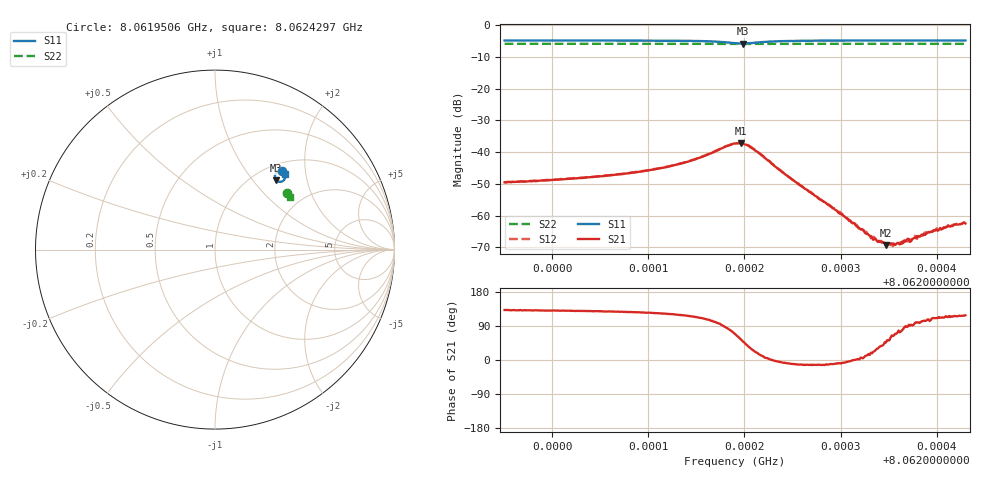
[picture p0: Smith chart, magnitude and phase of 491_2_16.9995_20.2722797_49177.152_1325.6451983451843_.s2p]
#  HZ  S  RI  R  50.00
! Rohde & Schwarz Vector Network Analyzer
! Rohde-Schwarz,ZNB20-2Port,1311601062101988,3.16
! Created: UTC 3/20/2024, 11:14:05 PM
! freq[Hz]  re:S11  im:S11  re:S21  im:S21  re:S12  im:S12  re:S22  im:S22
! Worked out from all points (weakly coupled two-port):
!   401 points, 8.0619506 GHz to 8.0624297 GHz, reference 50 ohm
!   highest |S21| = -37.17 dB at 8.0621961 GHz (marker M1); lowest = -69.3 dB at 8.062347 GHz (marker M2)
!   lowest |S11| = -5.8 dB at 8.0621985 GHz (marker M3), VSWR 3.13, Z = 63 + j66.3 ohm
!   |S11| at or under -10 dB: nowhere
!   |S22| runs from -5.9 to -5.8 dB; largest |S21 - S12| = 0.001
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8.06195056e9  0.3737 0.4383  -0.00224 0.00249  -0.0021 0.00265  0.4022 0.3143
8.06203081e9  0.3799 0.4324  -0.00248 0.00304  -0.00233 0.00323  0.4051 0.3101
8.06207393e9  0.3838 0.428  -0.00273 0.00363  -0.00255 0.00383  0.4067 0.308
8.06211107e9  0.3877 0.4219  -0.00305 0.00464  -0.0028 0.00485  0.408 0.3058
8.062147e9  0.3914 0.4102  -0.00311 0.00687  -0.00273 0.00714  0.4093 0.3037
8.06219012e9  0.3603 0.3777  0.00497 0.0127  0.00597 0.0125  0.4088 0.3006
8.06219611e9  0.3465 0.3823  0.00798 0.0113  0.00874 0.0108  0.4084 0.3006
8.06219851e9  0.3418 0.3863  0.00904 0.0101  0.00956 0.00966  0.4084 0.3008
8.06220929e9  0.3338 0.4095  0.0102 0.00475  0.0106 0.00419  0.4087 0.3014
8.06224642e9  0.3608 0.4356  0.00396 -0.000647  0.00394 -0.000878  0.4115 0.3003
8.06227038e9  0.3702 0.4348  0.00215 -0.000513  0.00216 -0.000644  0.4128 0.299
8.06230392e9  0.3777 0.4321  0.00097 -0.000112  0.000927 -0.000184  0.4142 0.2972
8.06233267e9  0.3818 0.4299  0.000422 0.000136  0.000444 0.000124  0.4153 0.2956
8.06234704e9  0.3835 0.4288  0.000238 0.000245  0.00026 0.000241  0.4158 0.295
8.06235063e9  0.3838 0.4286  0.000218 0.000281  0.000255 0.000267  0.4159 0.2948
8.06235662e9  0.3845 0.4282  0.000124 0.000322  0.00016 0.000307  0.4162 0.2945
8.06236261e9  0.385 0.4278  8.99e-05 0.000346  7.14e-05 0.000371  0.4163 0.2941
8.0623686e9  0.3857 0.4273  2.06e-05 0.000417  2.81e-05 0.000406  0.4165 0.2939
8.06237459e9  0.3863 0.4271  -7.7e-06 0.000427  4.36e-06 0.000429  0.4167 0.2936
8.06239016e9  0.3875 0.4259  -0.000156 0.000515  -9.22e-05 0.000543  0.4173 0.2929
8.06241172e9  0.3893 0.4245  -0.000276 0.000648  -0.000246 0.000631  0.4182 0.2915
8.06242969e9  0.3908 0.4234  -0.000354 0.000664  -0.000344 0.000697  0.4188 0.2906
